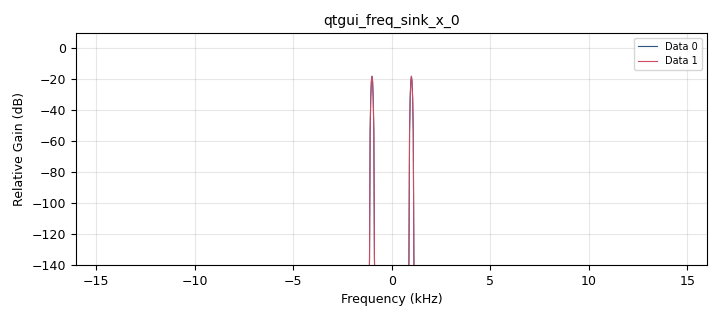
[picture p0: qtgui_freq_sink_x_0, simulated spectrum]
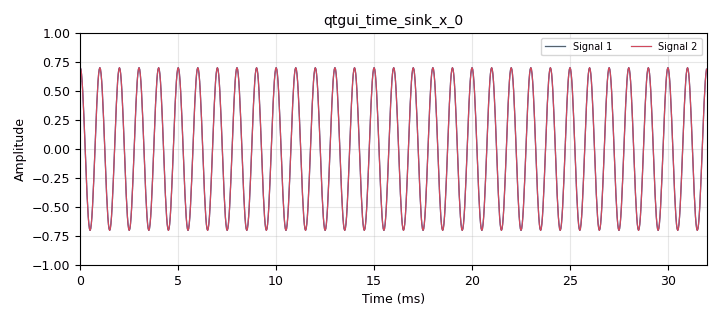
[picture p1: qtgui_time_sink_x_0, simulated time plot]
options:
  parameters:
    author: ekocinar
    generate_options: qt_gui
    id: 5.2sdrcommlink
    output_language: python
    title: Not titled yet
  states: {}

blocks:
- name: samp_rate
  id: variable
  parameters:
    value: '32000'
  states: {}
- name: analog_sig_source_x_0
  id: analog_sig_source_x
  parameters:
    amp: '0.7'
    freq: '1000'
    offset: '0'
    phase: '0'
    samp_rate: samp_rate
    type: float
    waveform: analog.GR_COS_WAVE
  states: {}
- name: audio_sink_0
  id: audio_sink
  parameters:
    ok_to_block: 'False'
    samp_rate: '44100'
  states: {}
- name: blocks_complex_to_float_0
  id: blocks_complex_to_float
  parameters: {}
  states: {}
- name: blocks_float_to_complex_0
  id: blocks_float_to_complex
  parameters: {}
  states: {}
- name: qtgui_freq_sink_x_0
  id: qtgui_freq_sink_x
  parameters:
    bw: samp_rate
    fc: '0'
    fftsize: '1024'
    nconnections: '2'
    type: float
  states: {}
- name: qtgui_time_sink_x_0
  id: qtgui_time_sink_x
  parameters:
    nconnections: '2'
    size: '1024'
    srate: samp_rate
    type: float
  states: {}

connections:
- [analog_sig_source_x_0, '0', audio_sink_0, '0']
- [analog_sig_source_x_0, '0', blocks_float_to_complex_0, '0']
- [analog_sig_source_x_0, '0', qtgui_freq_sink_x_0, '1']
- [analog_sig_source_x_0, '0', qtgui_time_sink_x_0, '1']
- [blocks_complex_to_float_0, '0', qtgui_freq_sink_x_0, '0']
- [blocks_complex_to_float_0, '0', qtgui_time_sink_x_0, '0']
- [blocks_float_to_complex_0, '0', blocks_complex_to_float_0, '0']

metadata:
  file_format: 1
